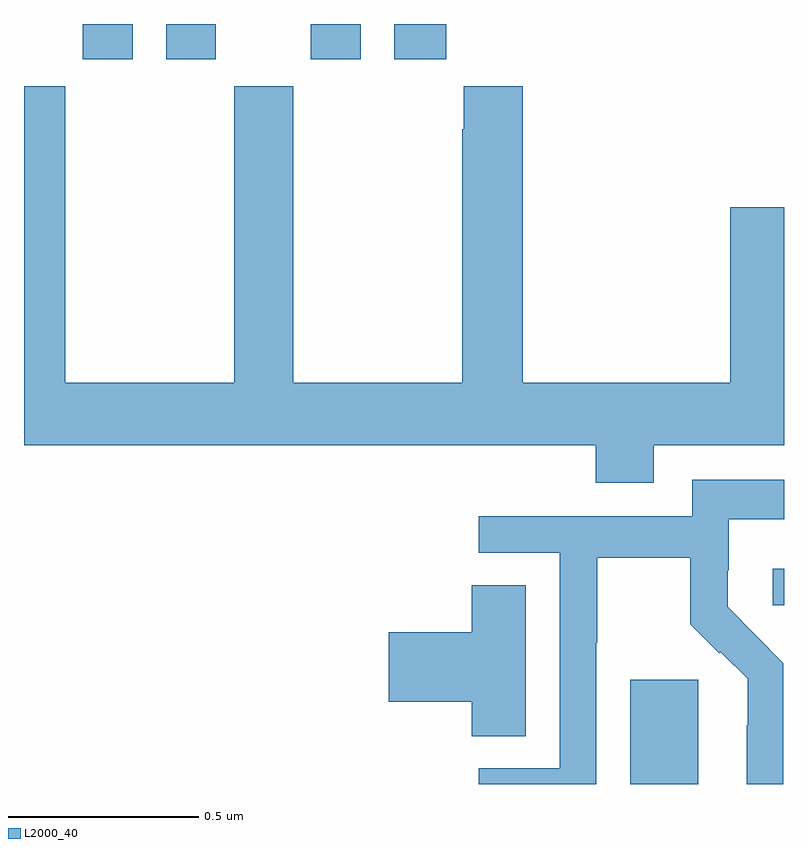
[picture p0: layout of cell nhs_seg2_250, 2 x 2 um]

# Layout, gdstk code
import gdstk
lib = gdstk.Library(unit=1e-6, precision=1e-09)
def R(c, l, rs):  # rectangles x0, y0, x1, y1
    for r in rs: c.add(gdstk.rectangle(r[:2], r[2:], *l))
def P(c, l, *ps):  # polygons
    for p in ps: c.add(gdstk.Polygon(p, *l))
L2000_40 = (2000, 40)

nhs_seg2_250 = lib.new_cell('nhs_seg2_250')
R(nhs_seg2_250, L2000_40, [(115.595,590.8,115.774,591.075), (115.971,591.27,116,591.367), (114.155,592.707,114.286,592.8), (114.374,592.707,114.505,592.8), (114.755,592.707,114.886,592.8), (114.974,592.707,115.111,592.8)])
P(nhs_seg2_250, L2000_40, [(115.657,591.692),(116,591.692),(116,592.318),(115.859,592.318),(115.859,591.856),(115.313,591.856),(115.313,592.636),(115.157,592.636),(115.157,592.523),(115.153,592.523),(115.153,591.856),(114.708,591.856),(114.708,592.636),(114.553,592.636),(114.553,591.856),(114.108,591.856),(114.108,592.636),(114,592.636),(114,591.692),(115.505,591.692),(115.505,591.593),(115.657,591.593)],
  [(115.506,591.172),(115.509,591.172),(115.509,591.396),(115.753,591.396),(115.753,591.221),(115.83,591.144),(115.833,591.147),(115.904,591.077),(115.904,590.954),(115.902,590.954),(115.902,590.8),(115.998,590.8),(115.998,591.118),(115.925,591.191),(115.926,591.192),(115.852,591.266),(115.852,591.363),(115.854,591.363),(115.854,591.497),(116,591.497),(116,591.601),(115.758,591.601),(115.758,591.504),(115.197,591.504),(115.197,591.408),(115.41,591.408),(115.41,590.841),(115.197,590.841),(115.197,590.8),(115.506,590.8)],
  [(115.321,591.323),(115.178,591.323),(115.178,591.2),(114.96,591.2),(114.96,591.017),(115.178,591.017),(115.178,590.926),(115.321,590.926)])

lib.write_gds('nhs_seg2_250.gds')
